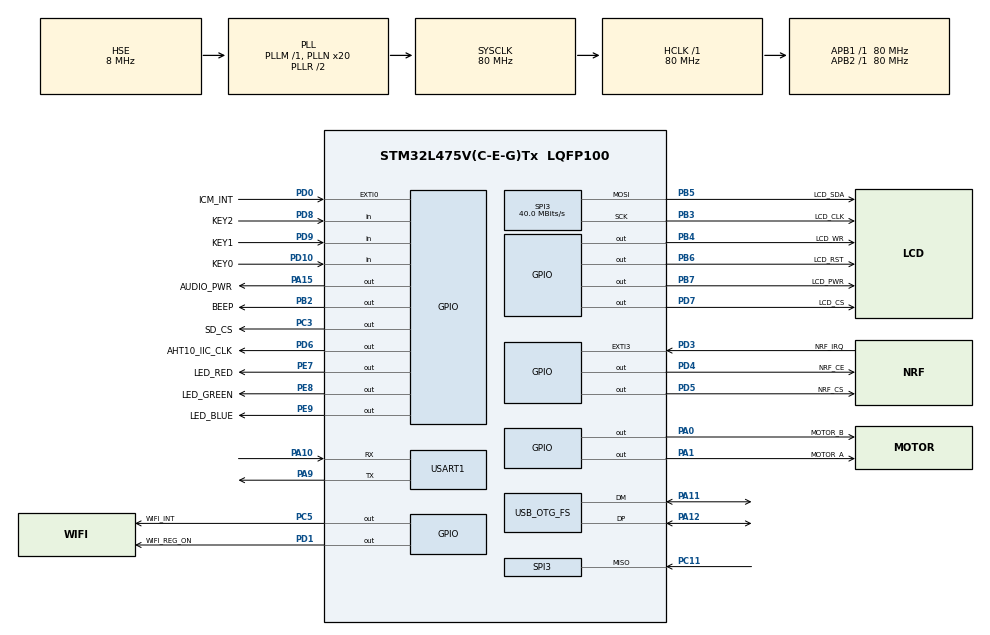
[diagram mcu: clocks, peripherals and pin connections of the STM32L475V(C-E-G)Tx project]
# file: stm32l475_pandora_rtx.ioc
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Dma.Request0=SPI3_TX
Dma.SPI3_TX.0.Direction=DMA_MEMORY_TO_PERIPH
Dma.SPI3_TX.0.Instance=DMA2_Channel2
Dma.SPI3_TX.0.MemDataAlignment=DMA_MDATAALIGN_BYTE
Dma.SPI3_TX.0.MemInc=DMA_MINC_ENABLE
Dma.SPI3_TX.0.Mode=DMA_NORMAL
Dma.SPI3_TX.0.PeriphDataAlignment=DMA_PDATAALIGN_BYTE
Dma.SPI3_TX.0.PeriphInc=DMA_PINC_DISABLE
Dma.SPI3_TX.0.Priority=DMA_PRIORITY_LOW
Mcu.Family=STM32L4
Mcu.Name=STM32L475V(C-E-G)Tx
Mcu.Package=LQFP100
NVIC.DMA2_Channel2_IRQn=true\:0\:0\:false\:false\:true\:false\:true\:true
NVIC.OTG_FS_IRQn=true\:0\:0\:false\:false\:true\:false\:true\:true
NVIC.PriorityGroup=NVIC_PRIORITYGROUP_4
NVIC.SPI3_IRQn=true\:0\:0\:false\:false\:true\:true\:true\:true
NVIC.TIM1_TRG_COM_TIM17_IRQn=true\:15\:0\:false\:false\:true\:false\:true\:true
NVIC.TIM7_IRQn=true\:0\:0\:false\:false\:true\:true\:true\:true
NVIC.TimeBase=TIM1_TRG_COM_TIM17_IRQn
NVIC.TimeBaseIP=TIM17
PA0.GPIO_Label=MOTOR_B
PA0.GPIO_PuPd=GPIO_PULLUP
PA0.Signal=GPIO_Output
PA1.GPIO_Label=MOTOR_A
PA1.GPIO_PuPd=GPIO_PULLUP
PA1.Signal=GPIO_Output
PA10.Mode=Asynchronous
PA10.Signal=USART1_RX
PA11.Mode=Device_Only
PA11.Signal=USB_OTG_FS_DM
PA12.Mode=Device_Only
PA12.Signal=USB_OTG_FS_DP
PA13\ (JTMS-SWDIO).Mode=Serial_Wire
PA13\ (JTMS-SWDIO).Signal=SYS_JTMS-SWDIO
PA14\ (JTCK-SWCLK).Mode=Serial_Wire
PA14\ (JTCK-SWCLK).Signal=SYS_JTCK-SWCLK
PA15\ (JTDI).GPIO_Label=AUDIO_PWR
PA15\ (JTDI).GPIO_PuPd=GPIO_PULLUP
PA15\ (JTDI).Signal=GPIO_Output
PA9.Mode=Asynchronous
PA9.Signal=USART1_TX
PB13.GPIO_Label=NRF_CLK
PB13.GPIO_PuPd=GPIO_PULLUP
PB13.Signal=SPI2_SCK
PB14.GPIO_Label=NRF_MISO
PB14.GPIO_PuPd=GPIO_PULLUP
PB14.Signal=SPI2_MISO
PB2.GPIO_Label=BEEP
PB2.GPIO_PuPd=GPIO_PULLUP
PB2.Signal=GPIO_Output
PB3\ (JTDO-TRACESWO).GPIO_Label=LCD_CLK
PB3\ (JTDO-TRACESWO).GPIO_PuPd=GPIO_PULLUP
PB3\ (JTDO-TRACESWO).Mode=Full_Duplex_Master
PB3\ (JTDO-TRACESWO).Signal=SPI3_SCK
PB4\ (NJTRST).GPIO_Label=LCD_WR
PB4\ (NJTRST).GPIO_PuPd=GPIO_NOPULL
PB4\ (NJTRST).GPIO_Speed=GPIO_SPEED_FREQ_VERY_HIGH
PB4\ (NJTRST).Signal=GPIO_Output
PB5.GPIO_Label=LCD_SDA
PB5.GPIO_PuPd=GPIO_PULLUP
PB5.Mode=Full_Duplex_Master
PB5.Signal=SPI3_MOSI
PB6.GPIO_Label=LCD_RST
PB6.GPIO_PuPd=GPIO_NOPULL
PB6.GPIO_Speed=GPIO_SPEED_FREQ_VERY_HIGH
PB6.Signal=GPIO_Output
PB7.GPIO_Label=LCD_PWR
PB7.GPIO_PuPd=GPIO_NOPULL
PB7.GPIO_Speed=GPIO_SPEED_FREQ_VERY_HIGH
PB7.Signal=GPIO_Output
PC11.Mode=Full_Duplex_Master
PC11.Signal=SPI3_MISO
PC13.GPIO_Label=WK_UP
PC13.Mode=SYS_WakeUp1
PC13.Signal=SYS_WKUP2
PC14-OSC32_IN\ (PC14).Mode=LSE-External-Oscillator
PC14-OSC32_IN\ (PC14).Signal=RCC_OSC32_IN
PC15-OSC32_OUT\ (PC15).Mode=LSE-External-Oscillator
PC15-OSC32_OUT\ (PC15).Signal=RCC_OSC32_OUT
PC3.GPIO_Label=SD_CS
PC3.GPIO_PuPd=GPIO_PULLUP
PC3.PinState=GPIO_PIN_SET
PC3.Signal=GPIO_Output
PC5.GPIO_Label=WIFI_INT
PC5.GPIO_PuPd=GPIO_PULLUP
PC5.Signal=GPIO_Output
PD0.GPIO_Label=ICM_INT
PD0.GPIO_PuPd=GPIO_PULLUP
PD0.Signal=GPXTI0
PD1.GPIO_Label=WIFI_REG_ON
PD1.Signal=GPIO_Output
PD10.GPIO_Label=KEY0
PD10.GPIO_PuPd=GPIO_NOPULL
PD10.Signal=GPIO_Input
PD3.GPIO_Label=NRF_IRQ
PD3.GPIO_ModeDefaultEXTI=GPIO_MODE_IT_FALLING
PD3.GPIO_PuPd=GPIO_PULLUP
PD3.Signal=GPXTI3
PD4.GPIO_Label=NRF_CE
PD4.Signal=GPIO_Output
PD5.GPIO_Label=NRF_CS
PD5.GPIO_PuPd=GPIO_PULLUP
PD5.PinState=GPIO_PIN_SET
PD5.Signal=GPIO_Output
PD6.GPIO_Label=AHT10_IIC_CLK
PD6.GPIO_PuPd=GPIO_PULLUP
PD6.GPIO_Speed=GPIO_SPEED_FREQ_VERY_HIGH
PD6.PinState=GPIO_PIN_SET
PD6.Signal=GPIO_Output
PD7.GPIO_Label=LCD_CS
PD7.GPIO_PuPd=GPIO_PULLUP
PD7.GPIO_Speed=GPIO_SPEED_FREQ_VERY_HIGH
PD7.PinState=GPIO_PIN_SET
PD7.Signal=GPIO_Output
PD8.GPIO_Label=KEY2
PD8.GPIO_PuPd=GPIO_NOPULL
PD8.Signal=GPIO_Input
PD9.GPIO_Label=KEY1
PD9.GPIO_PuPd=GPIO_NOPULL
PD9.Signal=GPIO_Input
PE15.Signal=QUADSPI_BK1_IO3
PE2.Signal=SAI1_MCLK_A
PE7.GPIO_Label=LED_RED
PE7.GPIO_ModeDefaultOutputPP=GPIO_MODE_OUTPUT_OD
PE7.GPIO_PuPd=GPIO_NOPULL
PE7.GPIO_Speed=GPIO_SPEED_FREQ_VERY_HIGH
PE7.PinState=GPIO_PIN_SET
PE7.Signal=GPIO_Output
PE8.GPIO_Label=LED_GREEN
PE8.GPIO_ModeDefaultOutputPP=GPIO_MODE_OUTPUT_OD
PE8.GPIO_PuPd=GPIO_NOPULL
PE8.GPIO_Speed=GPIO_SPEED_FREQ_VERY_HIGH
PE8.PinState=GPIO_PIN_SET
PE8.Signal=GPIO_Output
PE9.GPIO_Label=LED_BLUE
PE9.GPIO_ModeDefaultOutputPP=GPIO_MODE_OUTPUT_OD
PE9.GPIO_PuPd=GPIO_NOPULL
PE9.GPIO_Speed=GPIO_SPEED_FREQ_VERY_HIGH
PE9.PinState=GPIO_PIN_SET
PE9.Signal=GPIO_Output
PH0-OSC_IN\ (PH0).Mode=HSE-External-Oscillator
PH0-OSC_IN\ (PH0).Signal=RCC_OSC_IN
PH1-OSC_OUT\ (PH1).Mode=HSE-External-Oscillator
PH1-OSC_OUT\ (PH1).Signal=RCC_OSC_OUT
ProjectManager.HeapSize=0x800
ProjectManager.StackSize=0x400
ProjectManager.TargetToolchain=CMake
RCC.ADCFreq_Value=48000000
RCC.AHBFreq_Value=80000000
RCC.APB1Freq_Value=80000000
RCC.APB1TimFreq_Value=80000000
RCC.APB2Freq_Value=80000000
RCC.APB2TimFreq_Value=80000000
RCC.CortexFreq_Value=80000000
RCC.HCLKFreq_Value=80000000
RCC.HSE_VALUE=8000000
RCC.HSI_VALUE=16000000
RCC.MSIClockRange=RCC_MSIRANGE_0
RCC.MSI_VALUE=100000
RCC.PLLN=20
RCC.PLLSAI1N=12
RCC.PLLSourceVirtual=RCC_PLLSOURCE_HSE
RCC.SYSCLKFreq_VALUE=80000000
RCC.SYSCLKSource=RCC_SYSCLKSOURCE_PLLCLK
RCC.USBFreq_Value=48000000
RCC.VCOOutputFreq_Value=160000000
SPI3.BaudRatePrescaler=SPI_BAUDRATEPRESCALER_2
SPI3.CLKPhase=SPI_PHASE_1EDGE
SPI3.CalculateBaudRate=40.0 MBits/s
SPI3.DataSize=SPI_DATASIZE_8BIT
SPI3.Direction=SPI_DIRECTION_2LINES
SPI3.Mode=SPI_MODE_MASTER
SPI3.VirtualType=VM_MASTER
TIM7.Period=79
TIM7.Prescaler=999
USART1.VirtualMode-Asynchronous=VM_ASYNC
USB_DEVICE.CLASS_NAME_FS=CDC
USB_DEVICE.VirtualMode=Cdc
USB_DEVICE.VirtualModeFS=Cdc_FS
USB_OTG_FS.VirtualMode=Device_Only
VP_SYS_VS_tim17.Mode=TIM17
VP_TIM7_VS_ClockSourceINT.Mode=Enable_Timer
VP_USB_DEVICE_VS_USB_DEVICE_CDC_FS.Mode=CDC_FS
board=custom

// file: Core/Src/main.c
/* USER CODE BEGIN Header */
/**
  ******************************************************************************
  * @file           : main.c
  * @brief          : Main program body
  ******************************************************************************
  * @attention
  *
  * Copyright (c) 2023 STMicroelectronics.
  * All rights reserved.
  *
  * This software is licensed under terms that can be found in the LICENSE file
  * in the root directory of this software component.
  * If no LICENSE file comes with this software, it is provided AS-IS.
  *
  ******************************************************************************
  */
/* USER CODE END Header */
#include "main.h"
#include "dma.h"
#include "spi.h"
#include "tim.h"
#include "usart.h"
#include "usb_device.h"
#include "gpio.h"

/* USER CODE BEGIN Includes */
#include "st7789v2.h"
#include "GUI.h"

#include "gcc_debug_util.h"
#include "usbd_cdc_if.h"
#include "SEGGER_RTT.h"
extern volatile GUI_TIMER_TIME OS_TimeMS;
/* USER CODE END Includes */

/* USER CODE BEGIN PV */
void GCC_DebugSend(const uint8_t *data, uint16_t len)
{
  // print to virtual com port
  // extern USBD_HandleTypeDef hUsbDeviceFS;
  // USBD_CDC_HandleTypeDef *hcdc = (USBD_CDC_HandleTypeDef*)hUsbDeviceFS.pClassData;
  // while (hcdc->TxState != 0){
  // }
  // CDC_Transmit_FS(data, len);

  //print to uart
  //HAL_UART_Transmit(&huart1,data,len,50);

  //print using RTT
  SEGGER_RTT_Write(0,data,len);
}
/* USER CODE END PV */

void SystemClock_Config(void);

/* USER CODE BEGIN 0 */
void usb_reset(void)
{
    __HAL_RCC_GPIOA_CLK_ENABLE();
    GPIO_InitTypeDef GPIO_InitStruct = {0};

    GPIO_InitStruct.Pin = GPIO_PIN_11|GPIO_PIN_12;
    GPIO_InitStruct.Mode = GPIO_MODE_OUTPUT_PP;
    GPIO_InitStruct.Pull = GPIO_NOPULL;
    GPIO_InitStruct.Speed = GPIO_SPEED_FREQ_HIGH;
    HAL_GPIO_Init(GPIOA, &GPIO_InitStruct);

    HAL_GPIO_WritePin(GPIOA, GPIO_PIN_11|GPIO_PIN_12, GPIO_PIN_RESET);
    HAL_Delay(200);
    HAL_GPIO_WritePin(GPIOA, GPIO_PIN_11|GPIO_PIN_12, GPIO_PIN_SET);
}
/* USER CODE END 0 */

int main(void)
{

  /* MCU Configuration--------------------------------------------------------*/

  /* Reset of all peripherals, Initializes the Flash interface and the Systick. */
  HAL_Init();

  /* Configure the system clock */
  SystemClock_Config();

  /* USER CODE BEGIN SysInit */
  usb_reset();
  /* USER CODE END SysInit */

  /* Initialize all configured peripherals */
  MX_GPIO_Init();
  MX_DMA_Init();
  MX_SPI3_Init();
  MX_USB_DEVICE_Init();
  MX_TIM7_Init();
  MX_USART1_UART_Init();
  /* USER CODE BEGIN 2 */
  __HAL_RCC_CRC_CLK_ENABLE();
  SEGGER_RTT_Init();
  SEGGER_RTT_printf(0, "System started");
  GCC_DebugInit();
  GCC_DebugEnable();
  st7789_init();
  st7789_fill_color(COLOR_GREEN);
  GUI_Init();
  GUI_SetBkColor(GUI_DARKBLUE);
  GUI_Clear();
  GUI_DispString("Hello world!");
  /* USER CODE END 2 */

  /* Infinite loop */
  /* USER CODE BEGIN WHILE */
  while (1)
  {
    GCC_DebugPrintf("Current tick: %d\r\n",uwTick);
    HAL_Delay(500);
    HAL_GPIO_TogglePin(GPIOE, LED_RED_Pin|LED_GREEN_Pin|LED_BLUE_Pin);
    /* USER CODE END WHILE */

  }
}

void SystemClock_Config(void)
{
  RCC_OscInitTypeDef RCC_OscInitStruct = {0};
  RCC_ClkInitTypeDef RCC_ClkInitStruct = {0};

  /** Configure the main internal regulator output voltage
  */
  if (HAL_PWREx_ControlVoltageScaling(PWR_REGULATOR_VOLTAGE_SCALE1) != HAL_OK)
  {
    Error_Handler();
  }

  /** Initializes the RCC Oscillators according to the specified parameters
  * in the RCC_OscInitTypeDef structure.
  */
  RCC_OscInitStruct.OscillatorType = RCC_OSCILLATORTYPE_HSE;
  RCC_OscInitStruct.HSEState = RCC_HSE_ON;
  RCC_OscInitStruct.PLL.PLLState = RCC_PLL_ON;
  RCC_OscInitStruct.PLL.PLLSource = RCC_PLLSOURCE_HSE;
  RCC_OscInitStruct.PLL.PLLM = 1;
  RCC_OscInitStruct.PLL.PLLN = 20;
  RCC_OscInitStruct.PLL.PLLP = RCC_PLLP_DIV7;
  RCC_OscInitStruct.PLL.PLLQ = RCC_PLLQ_DIV2;
  RCC_OscInitStruct.PLL.PLLR = RCC_PLLR_DIV2;
  if (HAL_RCC_OscConfig(&RCC_OscInitStruct) != HAL_OK)
  {
    Error_Handler();
  }

  /** Initializes the CPU, AHB and APB buses clocks
  */
  RCC_ClkInitStruct.ClockType = RCC_CLOCKTYPE_HCLK|RCC_CLOCKTYPE_SYSCLK
                              |RCC_CLOCKTYPE_PCLK1|RCC_CLOCKTYPE_PCLK2;
  RCC_ClkInitStruct.SYSCLKSource = RCC_SYSCLKSOURCE_PLLCLK;
  RCC_ClkInitStruct.AHBCLKDivider = RCC_SYSCLK_DIV1;
  RCC_ClkInitStruct.APB1CLKDivider = RCC_HCLK_DIV1;
  RCC_ClkInitStruct.APB2CLKDivider = RCC_HCLK_DIV1;

  if (HAL_RCC_ClockConfig(&RCC_ClkInitStruct, FLASH_LATENCY_4) != HAL_OK)
  {
    Error_Handler();
  }
}

void HAL_TIM_PeriodElapsedCallback(TIM_HandleTypeDef *htim)
{
  if (htim->Instance == TIM17)
  {
    HAL_IncTick();
  }
}

void Error_Handler(void)
{
  __disable_irq();
  while (1)
  {
  }
}
